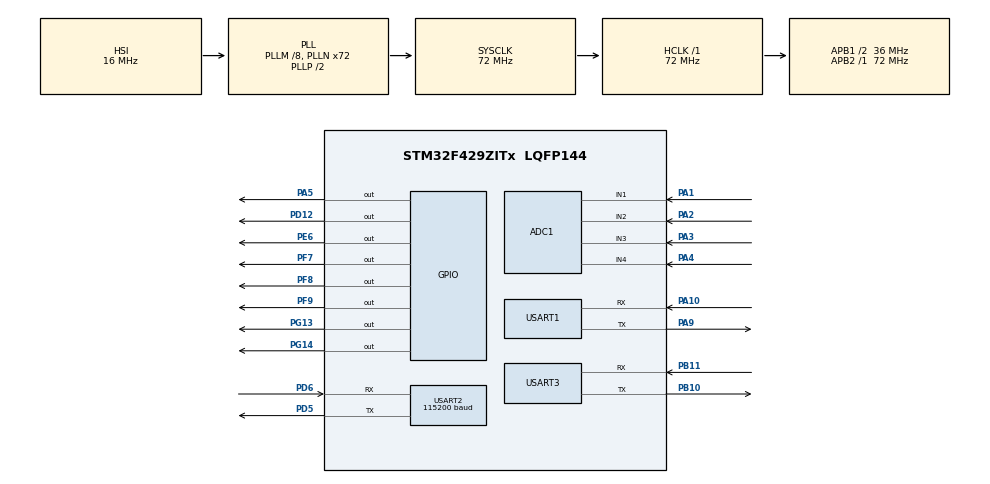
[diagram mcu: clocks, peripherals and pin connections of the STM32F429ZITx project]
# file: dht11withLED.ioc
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ADC1.Channel-0\#ChannelRegularConversion=ADC_CHANNEL_1
ADC1.NbrOfConversionFlag=1
ADC1.Rank-0\#ChannelRegularConversion=1
ADC1.SamplingTime-0\#ChannelRegularConversion=ADC_SAMPLETIME_3CYCLES
ADC1.master=1
Mcu.Family=STM32F4
Mcu.Name=STM32F429ZITx
Mcu.Package=LQFP144
NVIC.PriorityGroup=NVIC_PRIORITYGROUP_4
NVIC.USART2_IRQn=true\:0\:0\:false\:false\:true\:true\:true\:true
NVIC.USART3_IRQn=true\:0\:0\:false\:false\:true\:true\:true\:true
PA1.Signal=ADCx_IN1
PA10.Mode=Asynchronous
PA10.Signal=USART1_RX
PA13.Mode=Serial_Wire
PA13.Signal=SYS_JTMS-SWDIO
PA14.Mode=Serial_Wire
PA14.Signal=SYS_JTCK-SWCLK
PA2.Signal=ADCx_IN2
PA3.Signal=ADCx_IN3
PA4.Signal=ADCx_IN4
PA5.Signal=GPIO_Output
PA9.Mode=Asynchronous
PA9.Signal=USART1_TX
PB10.Mode=Asynchronous
PB10.Signal=USART3_TX
PB11.Mode=Asynchronous
PB11.Signal=USART3_RX
PD12.Signal=GPIO_Output
PD5.Mode=Asynchronous
PD5.Signal=USART2_TX
PD6.Mode=Asynchronous
PD6.Signal=USART2_RX
PE6.Signal=GPIO_Output
PF7.Signal=GPIO_Output
PF8.Signal=GPIO_Output
PF9.Signal=GPIO_Output
PG13.Signal=GPIO_Output
PG14.Signal=GPIO_Output
PH0/OSC_IN.Mode=HSE-External-Oscillator
PH0/OSC_IN.Signal=RCC_OSC_IN
PH1/OSC_OUT.Mode=HSE-External-Oscillator
PH1/OSC_OUT.Signal=RCC_OSC_OUT
ProjectManager.HeapSize=0x200
ProjectManager.StackSize=0x400
ProjectManager.TargetToolchain=STM32CubeIDE
RCC.48MHZClocksFreq_Value=36000000
RCC.AHBFreq_Value=72000000
RCC.APB1CLKDivider=RCC_HCLK_DIV2
RCC.APB1Freq_Value=36000000
RCC.APB1TimFreq_Value=72000000
RCC.APB2Freq_Value=72000000
RCC.APB2TimFreq_Value=72000000
RCC.CortexFreq_Value=72000000
RCC.HCLKFreq_Value=72000000
RCC.HSE_VALUE=25000000
RCC.HSI_VALUE=16000000
RCC.LSE_VALUE=32768
RCC.PLLM=8
RCC.PLLN=72
RCC.SYSCLKFreq_VALUE=72000000
RCC.SYSCLKSource=RCC_SYSCLKSOURCE_PLLCLK
RCC.VCOOutputFreq_Value=144000000
SH.ADCx_IN1.0=ADC1_IN1,IN1
SH.ADCx_IN2.0=ADC1_IN2,IN2
SH.ADCx_IN3.0=ADC1_IN3,IN3
SH.ADCx_IN4.0=ADC1_IN4,IN4
TIM1.Prescaler=71
USART1.VirtualMode=VM_ASYNC
USART2.BaudRate=115200
USART2.VirtualMode=VM_ASYNC
USART3.VirtualMode=VM_ASYNC
VP_TIM1_VS_ClockSourceINT.Mode=Internal
board=custom

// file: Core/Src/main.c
/* USER CODE BEGIN Header */
/**
 ******************************************************************************
 * @file           : main.c
 * @brief          : Main program body
 ******************************************************************************
 * @attention
 *
 * Copyright (c) 2023 STMicroelectronics.
 * All rights reserved.
 *
 * This software is licensed under terms that can be found in the LICENSE file
 * in the root directory of this software component.
 * If no LICENSE file comes with this software, it is provided AS-IS.
 *
 ******************************************************************************
 */
/* USER CODE END Header */
#include "main.h"

/* USER CODE BEGIN Includes */
#include "ESP8266_HAL.h"

/* USER CODE END Includes */

ADC_HandleTypeDef hadc1;

TIM_HandleTypeDef htim1;

UART_HandleTypeDef huart1;
UART_HandleTypeDef huart2;
UART_HandleTypeDef huart3;

void SystemClock_Config(void);
static void MX_GPIO_Init(void);
static void MX_TIM1_Init(void);
static void MX_USART1_UART_Init(void);
static void MX_ADC1_Init(void);
static void MX_USART2_UART_Init(void);
static void MX_USART3_UART_Init(void);

/* USER CODE BEGIN 0 */

//----------DHT11 DECLARATION------------
#define DHT11_PORT GPIOD
#define DHT11_PIN GPIO_PIN_12

uint8_t RHI, RHD, TCI, TCD, SUM;
uint32_t pMillis, cMillis;
float tCelsius = 0;
float tFahrenheit = 0;
float RH = 0;

//----------MQ135 DECLARATION (OUTPUT PIN PA1) ------------
/// The load resistance on the board
#define RLOAD 10.0
/// Calibration resistance at atmospheric CO2 level
#define RZERO 76.63
/// Parameters for calculating ppm of CO2 from sensor resistance
#define PARA 116.6020682
#define PARB 2.769034857

/// Parameters to model temperature and humidity dependence
#define CORA 0.00035
#define CORB 0.02718
#define CORC 1.39538
#define CORD 0.0018

float MQ135 = 0;
float V_MQ135 = 0;
float MQ135_PPM = 0;

//----------MQ7 DECLARATION (OUTPUT PIN PA2)------------
#define coefficient_A 19.32
#define coefficient_B -0.64

float MQ7 = 0;
float V_MQ7 = 0;
float MQ7_PPM = 0;

//----------PM25 DECLARATION (OUTPUT PIN PE6, PA3)------------
#define PM25_PORT GPIOE
#define PM25_PIN GPIO_PIN_6

float PM25 = 0;

//----------UV_Index DECLARATION (OUTPUT PIN PA4)------------
float UV = 0;
float V_UV = 0;
float UV_index = 0;

float dewpoint = 0;

//---------------ADC CHANNEL---------------------------

void ADC_Select_CH1(void) {
	ADC_ChannelConfTypeDef sConfig = { 0 };
	sConfig.Channel = ADC_CHANNEL_1;
	sConfig.Rank = 1;
	if (HAL_ADC_ConfigChannel(&hadc1, &sConfig) != HAL_OK) {
		Error_Handler();
	}
}

void ADC_Select_CH2(void) {
	ADC_ChannelConfTypeDef sConfig = { 0 };
	sConfig.Channel = ADC_CHANNEL_2;
	sConfig.Rank = 1;
	if (HAL_ADC_ConfigChannel(&hadc1, &sConfig) != HAL_OK) {
		Error_Handler();
	}
}

void ADC_Select_CH3(void) {
	ADC_ChannelConfTypeDef sConfig = { 0 };
	sConfig.Channel = ADC_CHANNEL_3;
	sConfig.Rank = 1;
	if (HAL_ADC_ConfigChannel(&hadc1, &sConfig) != HAL_OK) {
		Error_Handler();
	}
}

void ADC_Select_CH4(void) {
	ADC_ChannelConfTypeDef sConfig = { 0 };
	sConfig.Channel = ADC_CHANNEL_4;
	sConfig.Rank = 1;
	if (HAL_ADC_ConfigChannel(&hadc1, &sConfig) != HAL_OK) {
		Error_Handler();
	}
}

uint16_t ADC_Get_Value(ADC_HandleTypeDef *hadc) {
	uint16_t val = 0;
	HAL_ADC_Start(hadc);
	HAL_ADC_PollForConversion(hadc, 100);
	val = HAL_ADC_GetValue(hadc);
	HAL_ADC_Stop(hadc);
	return val;
}

//---------------DH11---------------------------
void microDelay(uint16_t delay) {
	__HAL_TIM_SET_COUNTER(&htim1, 0);
	while (__HAL_TIM_GET_COUNTER(&htim1) < delay)
		;
}

uint8_t DHT11_Start(void) {
	uint8_t Response = 0;
	GPIO_InitTypeDef GPIO_InitStructPrivate = { 0 };
	GPIO_InitStructPrivate.Pin = DHT11_PIN;
	GPIO_InitStructPrivate.Mode = GPIO_MODE_OUTPUT_PP;
	GPIO_InitStructPrivate.Speed = GPIO_SPEED_FREQ_LOW;
	GPIO_InitStructPrivate.Pull = GPIO_NOPULL;
	HAL_GPIO_Init(DHT11_PORT, &GPIO_InitStructPrivate); // set the pin as output
	HAL_GPIO_WritePin(DHT11_PORT, DHT11_PIN, 0);   // pull the pin low
	HAL_Delay(20);   // wait for 20ms
	HAL_GPIO_WritePin(DHT11_PORT, DHT11_PIN, 1);   // pull the pin high
	microDelay(30);   // wait for 30us
	GPIO_InitStructPrivate.Mode = GPIO_MODE_INPUT;
	GPIO_InitStructPrivate.Pull = GPIO_PULLUP;
	HAL_GPIO_Init(DHT11_PORT, &GPIO_InitStructPrivate); // set the pin as input
	microDelay(40);
	if (!(HAL_GPIO_ReadPin(DHT11_PORT, DHT11_PIN))) {
		microDelay(80);
		if ((HAL_GPIO_ReadPin(DHT11_PORT, DHT11_PIN)))
			Response = 1;
	}
	pMillis = HAL_GetTick();
	cMillis = HAL_GetTick();
	while ((HAL_GPIO_ReadPin(DHT11_PORT, DHT11_PIN)) && pMillis + 2 > cMillis) {
		cMillis = HAL_GetTick();
	}
	return Response;
}

uint8_t DHT11_Read(void) {
	uint8_t a, b;
	for (a = 0; a < 8; a++) {
		pMillis = HAL_GetTick();
		cMillis = HAL_GetTick();
		while (!(HAL_GPIO_ReadPin(DHT11_PORT, DHT11_PIN))
				&& pMillis + 2 > cMillis) {  // wait for the pin to go high
			cMillis = HAL_GetTick();
		}
		microDelay(40);   // wait for 40 us
		if (!(HAL_GPIO_ReadPin(DHT11_PORT, DHT11_PIN)))   // if the pin is low
			b &= ~(1 << (7 - a));
		else
			b |= (1 << (7 - a));
		pMillis = HAL_GetTick();
		cMillis = HAL_GetTick();
		while ((HAL_GPIO_ReadPin(DHT11_PORT, DHT11_PIN))
				&& pMillis + 2 > cMillis) {  // wait for the pin to go low
			cMillis = HAL_GetTick();
		}
	}
	return b;
}

//---------------MQ135---------------------------

float getCorrectionFactor(float t, float h) {
	return CORA * t * t - CORB * t + CORC - (h - 33.) * CORD;
}

float getResistance() {
	ADC_Select_CH1();
	int val = ADC_Get_Value(&hadc1);
	return val;
//	return ((1023. / (float) val) * 5. - 1.) * RLOAD;
}

float getCorrectedResistance(float t, float h) {
	return getResistance() / getCorrectionFactor(t, h);
}

float getCorrectedPPM(float t, float h) {
	return PARA * pow((getCorrectedResistance(t, h) / RZERO), -PARB) * 10 + 0.8;
}

float gasEquation() {
	ADC_Select_CH1();
	MQ135 = ADC_Get_Value(&hadc1);
	V_MQ135 = MQ135 * 3 /4096;
	MQ135_PPM = (V_MQ135  * 665) + 5;
	return MQ135_PPM;
}

//---------------MQ7---------------------------

int getValue() {
	ADC_Select_CH2();
	return ADC_Get_Value(&hadc1);
}

float voltageConversion(int value) {
	return (float) value * (5.0 / 1023.0);
}

float getRatio() {
	float v_out = voltageConversion(getValue());
	return (5.0 - v_out) / v_out;
}

float getPPM() {
	return (float) (coefficient_A * pow(getRatio(), coefficient_B)) * 2;
}

float coEquation() {
	ADC_Select_CH2();
	MQ7 = ADC_Get_Value(&hadc1);
	V_MQ7 = MQ7 * 3 /4096;
	MQ7_PPM = (630 * V_MQ7) +5;
	return MQ7_PPM;
}

//---------------PM2.5---------------------------
float dataPM25() {
	HAL_GPIO_WritePin(PM25_PORT, PM25_PIN, 0);
	HAL_Delay(5);
	ADC_Select_CH3();
	float voMeasured = ADC_Get_Value(&hadc1);
	HAL_Delay(1);
	HAL_GPIO_WritePin(PM25_PORT, PM25_PIN, 1);
	HAL_Delay(1);
	float calcVoltage = voMeasured * (5.0 / 1024);
	float dustDensity = (0.172 * calcVoltage - 0.1) * 10;
	if (dustDensity < 0) {
		dustDensity = 0.00;
	}
	return dustDensity * 25;
}

//---------------UVIndex---------------------------
float dataUVIndex() {
	ADC_Select_CH4();
	float sensor_value = ADC_Get_Value(&hadc1);
	float volts = sensor_value / 1024.0 * 5.0;
	float UV_index = volts * 10;
	return UV_index * 3.25;
}

float uvEquation() {
	ADC_Select_CH3();
	UV = ADC_Get_Value(&hadc1);
	V_UV = MQ7 * 3 /4096;
	UV_index = V_UV + 23;
	return UV_index;
}

//---------------Dew point------------------------
float dewPoint(float temperature, float humidity) {
	double a = 17.271;
	double b = 237.7;
	double data = (a * temperature) / (b + temperature) + log(humidity/100);
	double result = (b * data) / (a - data);
	return (float) result;
}
/* USER CODE END 0 */

int main(void)
{

  /* MCU Configuration--------------------------------------------------------*/

  /* Reset of all peripherals, Initializes the Flash interface and the Systick. */
  HAL_Init();

  /* Configure the system clock */
  SystemClock_Config();

  /* Initialize all configured peripherals */
  MX_GPIO_Init();
  MX_TIM1_Init();
  MX_USART1_UART_Init();
  MX_ADC1_Init();
  MX_USART2_UART_Init();
  MX_USART3_UART_Init();
  /* USER CODE BEGIN 2 */
	HAL_TIM_Base_Start(&htim1);
  /* USER CODE END 2 */

  /* Infinite loop */
  /* USER CODE BEGIN WHILE */
	while (1) {
		HAL_GPIO_WritePin(GPIOG, GPIO_PIN_13, SET);
		HAL_GPIO_WritePin(GPIOG, GPIO_PIN_14, RESET);
		HAL_Delay(500);
		HAL_GPIO_WritePin(GPIOG, GPIO_PIN_13, RESET);
		HAL_GPIO_WritePin(GPIOG, GPIO_PIN_14, SET);
		if (DHT11_Start()) {
			RHI = DHT11_Read(); // Relative humidity integral
			RHD = DHT11_Read(); // Relative humidity decimal
			TCI = DHT11_Read(); // Celsius integral
			TCD = DHT11_Read(); // Celsius decimal
			SUM = DHT11_Read(); // Check sum
			if (RHI + RHD + TCI + TCD == SUM) {
				float tCelsius = (float) TCI + (float) (TCD / 10.0);
				float RH = (float) RHI + (float) (RHD / 10.0);

				MQ135 = gasEquation();
//				MQ7 = getPPM();
				MQ7 = coEquation();
				PM25 = dataPM25();
//				UV = dataUVIndex();
				UV = uvEquation();
				dewpoint = dewPoint(tCelsius, RH);

				char temp_str[20];
				char rh_str[20];
				char gas_str[20];
				char co_str[20];
				char pm_str[20];
				char uv_str[20];
				char dewpoint_str[20];

				sprintf(temp_str, "%.1f", tCelsius);
				sprintf(rh_str, "%.1f", RH);
				sprintf(gas_str, "%.5f", MQ135);
				sprintf(co_str, "%.5f", MQ7);
				sprintf(pm_str, "%.5f", PM25);
				sprintf(uv_str, "%.5f", UV);
				sprintf(dewpoint_str, "%.5f", dewpoint);

				char combined_str[50];
				sprintf(combined_str, "%s,%s,%s,%s,%s,%s,%s\n", temp_str, rh_str, gas_str, co_str, pm_str, uv_str, dewpoint_str);

				//uart1 for transmit data from stm32 to pc
				HAL_UART_Transmit(&huart1, (uint8_t*) combined_str,strlen(combined_str), 10);

				//uart2 for transmit data from stm32 to esp8266
				HAL_UART_Transmit(&huart2, (uint8_t*) combined_str,
						strlen(combined_str), 10);

			}
		}
		HAL_Delay(3000);
    /* USER CODE END WHILE */

	}
}

void SystemClock_Config(void)
{
  RCC_OscInitTypeDef RCC_OscInitStruct = {0};
  RCC_ClkInitTypeDef RCC_ClkInitStruct = {0};

  /** Configure the main internal regulator output voltage
  */
  __HAL_RCC_PWR_CLK_ENABLE();
  __HAL_PWR_VOLTAGESCALING_CONFIG(PWR_REGULATOR_VOLTAGE_SCALE3);

  /** Initializes the RCC Oscillators according to the specified parameters
  * in the RCC_OscInitTypeDef structure.
  */
  RCC_OscInitStruct.OscillatorType = RCC_OSCILLATORTYPE_HSI;
  RCC_OscInitStruct.HSIState = RCC_HSI_ON;
  RCC_OscInitStruct.HSICalibrationValue = RCC_HSICALIBRATION_DEFAULT;
  RCC_OscInitStruct.PLL.PLLState = RCC_PLL_ON;
  RCC_OscInitStruct.PLL.PLLSource = RCC_PLLSOURCE_HSI;
  RCC_OscInitStruct.PLL.PLLM = 8;
  RCC_OscInitStruct.PLL.PLLN = 72;
  RCC_OscInitStruct.PLL.PLLP = RCC_PLLP_DIV2;
  RCC_OscInitStruct.PLL.PLLQ = 4;
  if (HAL_RCC_OscConfig(&RCC_OscInitStruct) != HAL_OK)
  {
    Error_Handler();
  }

  /** Initializes the CPU, AHB and APB buses clocks
  */
  RCC_ClkInitStruct.ClockType = RCC_CLOCKTYPE_HCLK|RCC_CLOCKTYPE_SYSCLK
                              |RCC_CLOCKTYPE_PCLK1|RCC_CLOCKTYPE_PCLK2;
  RCC_ClkInitStruct.SYSCLKSource = RCC_SYSCLKSOURCE_PLLCLK;
  RCC_ClkInitStruct.AHBCLKDivider = RCC_SYSCLK_DIV1;
  RCC_ClkInitStruct.APB1CLKDivider = RCC_HCLK_DIV2;
  RCC_ClkInitStruct.APB2CLKDivider = RCC_HCLK_DIV1;

  if (HAL_RCC_ClockConfig(&RCC_ClkInitStruct, FLASH_LATENCY_2) != HAL_OK)
  {
    Error_Handler();
  }
}

static void MX_ADC1_Init(void)
{

  ADC_ChannelConfTypeDef sConfig = {0};

  /** Configure the global features of the ADC (Clock, Resolution, Data Alignment and number of conversion)
  */
  hadc1.Instance = ADC1;
  hadc1.Init.ClockPrescaler = ADC_CLOCK_SYNC_PCLK_DIV2;
  hadc1.Init.Resolution = ADC_RESOLUTION_12B;
  hadc1.Init.ScanConvMode = DISABLE;
  hadc1.Init.ContinuousConvMode = DISABLE;
  hadc1.Init.DiscontinuousConvMode = DISABLE;
  hadc1.Init.ExternalTrigConvEdge = ADC_EXTERNALTRIGCONVEDGE_NONE;
  hadc1.Init.ExternalTrigConv = ADC_SOFTWARE_START;
  hadc1.Init.DataAlign = ADC_DATAALIGN_RIGHT;
  hadc1.Init.NbrOfConversion = 1;
  hadc1.Init.DMAContinuousRequests = DISABLE;
  hadc1.Init.EOCSelection = ADC_EOC_SINGLE_CONV;
  if (HAL_ADC_Init(&hadc1) != HAL_OK)
  {
    Error_Handler();
  }

  /** Configure for the selected ADC regular channel its corresponding rank in the sequencer and its sample time.
  */
  sConfig.Channel = ADC_CHANNEL_1;
  sConfig.Rank = 1;
  sConfig.SamplingTime = ADC_SAMPLETIME_3CYCLES;
  if (HAL_ADC_ConfigChannel(&hadc1, &sConfig) != HAL_OK)
  {
    Error_Handler();
  }

}

static void MX_TIM1_Init(void)
{

  TIM_ClockConfigTypeDef sClockSourceConfig = {0};
  TIM_MasterConfigTypeDef sMasterConfig = {0};

  htim1.Instance = TIM1;
  htim1.Init.Prescaler = 71;
  htim1.Init.CounterMode = TIM_COUNTERMODE_UP;
  htim1.Init.Period = 65535;
  htim1.Init.ClockDivision = TIM_CLOCKDIVISION_DIV1;
  htim1.Init.RepetitionCounter = 0;
  htim1.Init.AutoReloadPreload = TIM_AUTORELOAD_PRELOAD_DISABLE;
  if (HAL_TIM_Base_Init(&htim1) != HAL_OK)
  {
    Error_Handler();
  }
  sClockSourceConfig.ClockSource = TIM_CLOCKSOURCE_INTERNAL;
  if (HAL_TIM_ConfigClockSource(&htim1, &sClockSourceConfig) != HAL_OK)
  {
    Error_Handler();
  }
  sMasterConfig.MasterOutputTrigger = TIM_TRGO_RESET;
  sMasterConfig.MasterSlaveMode = TIM_MASTERSLAVEMODE_DISABLE;
  if (HAL_TIMEx_MasterConfigSynchronization(&htim1, &sMasterConfig) != HAL_OK)
  {
    Error_Handler();
  }

}

static void MX_USART1_UART_Init(void)
{

  huart1.Instance = USART1;
  huart1.Init.BaudRate = 115200;
  huart1.Init.WordLength = UART_WORDLENGTH_8B;
  huart1.Init.StopBits = UART_STOPBITS_1;
  huart1.Init.Parity = UART_PARITY_NONE;
  huart1.Init.Mode = UART_MODE_TX_RX;
  huart1.Init.HwFlowCtl = UART_HWCONTROL_NONE;
  huart1.Init.OverSampling = UART_OVERSAMPLING_16;
  if (HAL_UART_Init(&huart1) != HAL_OK)
  {
    Error_Handler();
  }

}

static void MX_USART2_UART_Init(void)
{

  huart2.Instance = USART2;
  huart2.Init.BaudRate = 115200;
  huart2.Init.WordLength = UART_WORDLENGTH_8B;
  huart2.Init.StopBits = UART_STOPBITS_1;
  huart2.Init.Parity = UART_PARITY_NONE;
  huart2.Init.Mode = UART_MODE_TX_RX;
  huart2.Init.HwFlowCtl = UART_HWCONTROL_NONE;
  huart2.Init.OverSampling = UART_OVERSAMPLING_16;
  if (HAL_UART_Init(&huart2) != HAL_OK)
  {
    Error_Handler();
  }

}

static void MX_USART3_UART_Init(void)
{

  huart3.Instance = USART3;
  huart3.Init.BaudRate = 115200;
  huart3.Init.WordLength = UART_WORDLENGTH_8B;
  huart3.Init.StopBits = UART_STOPBITS_1;
  huart3.Init.Parity = UART_PARITY_NONE;
  huart3.Init.Mode = UART_MODE_TX_RX;
  huart3.Init.HwFlowCtl = UART_HWCONTROL_NONE;
  huart3.Init.OverSampling = UART_OVERSAMPLING_16;
  if (HAL_UART_Init(&huart3) != HAL_OK)
  {
    Error_Handler();
  }

}

static void MX_GPIO_Init(void)
{
  GPIO_InitTypeDef GPIO_InitStruct = {0};

  /* GPIO Ports Clock Enable */
  __HAL_RCC_GPIOE_CLK_ENABLE();
  __HAL_RCC_GPIOF_CLK_ENABLE();
  __HAL_RCC_GPIOH_CLK_ENABLE();
  __HAL_RCC_GPIOA_CLK_ENABLE();
  __HAL_RCC_GPIOB_CLK_ENABLE();
  __HAL_RCC_GPIOD_CLK_ENABLE();
  __HAL_RCC_GPIOG_CLK_ENABLE();

  /*Configure GPIO pin Output Level */
  HAL_GPIO_WritePin(GPIOE, GPIO_PIN_6, GPIO_PIN_RESET);

  /*Configure GPIO pin Output Level */
  HAL_GPIO_WritePin(GPIOF, GPIO_PIN_7|GPIO_PIN_8|GPIO_PIN_9, GPIO_PIN_RESET);

  /*Configure GPIO pin Output Level */
  HAL_GPIO_WritePin(GPIOA, GPIO_PIN_5, GPIO_PIN_RESET);

  /*Configure GPIO pin Output Level */
  HAL_GPIO_WritePin(GPIOD, GPIO_PIN_12, GPIO_PIN_RESET);

  /*Configure GPIO pin Output Level */
  HAL_GPIO_WritePin(GPIOG, GPIO_PIN_13|GPIO_PIN_14, GPIO_PIN_RESET);

  /*Configure GPIO pin : PE6 */
  GPIO_InitStruct.Pin = GPIO_PIN_6;
  GPIO_InitStruct.Mode = GPIO_MODE_OUTPUT_PP;
  GPIO_InitStruct.Pull = GPIO_NOPULL;
  GPIO_InitStruct.Speed = GPIO_SPEED_FREQ_LOW;
  HAL_GPIO_Init(GPIOE, &GPIO_InitStruct);

  /*Configure GPIO pins : PF7 PF8 PF9 */
  GPIO_InitStruct.Pin = GPIO_PIN_7|GPIO_PIN_8|GPIO_PIN_9;
  GPIO_InitStruct.Mode = GPIO_MODE_OUTPUT_PP;
  GPIO_InitStruct.Pull = GPIO_NOPULL;
  GPIO_InitStruct.Speed = GPIO_SPEED_FREQ_LOW;
  HAL_GPIO_Init(GPIOF, &GPIO_InitStruct);

  /*Configure GPIO pin : PA5 */
  GPIO_InitStruct.Pin = GPIO_PIN_5;
  GPIO_InitStruct.Mode = GPIO_MODE_OUTPUT_PP;
  GPIO_InitStruct.Pull = GPIO_NOPULL;
  GPIO_InitStruct.Speed = GPIO_SPEED_FREQ_LOW;
  HAL_GPIO_Init(GPIOA, &GPIO_InitStruct);

  /*Configure GPIO pin : PD12 */
  GPIO_InitStruct.Pin = GPIO_PIN_12;
  GPIO_InitStruct.Mode = GPIO_MODE_OUTPUT_PP;
  GPIO_InitStruct.Pull = GPIO_NOPULL;
  GPIO_InitStruct.Speed = GPIO_SPEED_FREQ_LOW;
  HAL_GPIO_Init(GPIOD, &GPIO_InitStruct);

  /*Configure GPIO pins : PG13 PG14 */
  GPIO_InitStruct.Pin = GPIO_PIN_13|GPIO_PIN_14;
  GPIO_InitStruct.Mode = GPIO_MODE_OUTPUT_PP;
  GPIO_InitStruct.Pull = GPIO_NOPULL;
  GPIO_InitStruct.Speed = GPIO_SPEED_FREQ_LOW;
  HAL_GPIO_Init(GPIOG, &GPIO_InitStruct);

}

void Error_Handler(void)
{
	__disable_irq();
	while (1) {
	}
}
